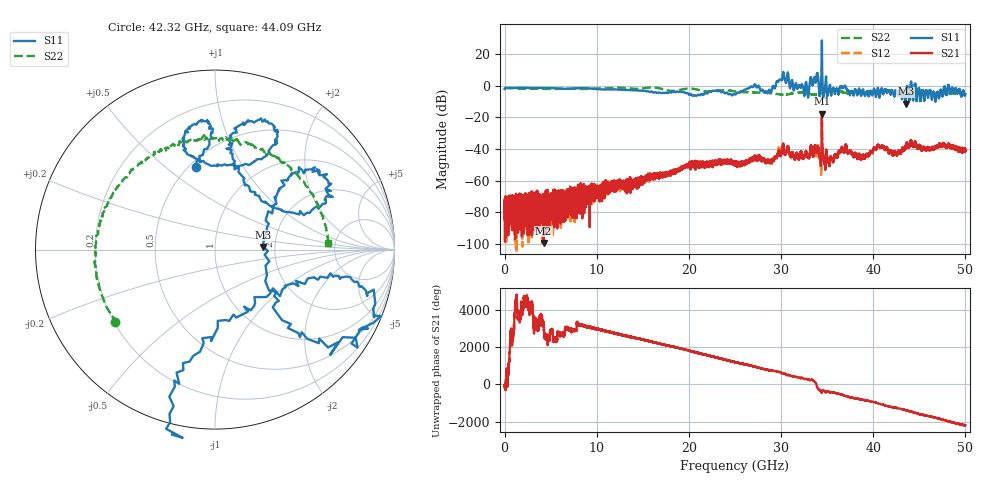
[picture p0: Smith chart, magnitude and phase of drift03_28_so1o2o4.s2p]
!Created with skrf (http://scikit-rf.org).
# Hz S RI R 50.0
!freq ReS11 ImS11 ReS21 ImS21 ReS12 ImS12 ReS22 ImS22
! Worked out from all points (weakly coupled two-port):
!   10000 points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, 5.3 MHz to 50 GHz, reference 50 ohm
!   highest |S21| = -17.68 dB at 34.43 GHz (marker M1); lowest = -99.3 dB at 4.225 GHz (marker M2)
!   lowest |S11| = -11.4 dB at 43.52 GHz (marker M3), VSWR 1.74, Z = 86.7 + j2.8 ohm
!   |S11| at or under -10 dB: 43.49447 GHz to 43.54655 GHz (52.09 MHz wide, 0.12 % of centre); 46.74923 GHz to 46.75069 GHz (1.455 MHz wide, 0.00311 % of centre)
!   |S22| runs from -5.8 to -1.1 dB; largest |S21 - S12| = 0.034
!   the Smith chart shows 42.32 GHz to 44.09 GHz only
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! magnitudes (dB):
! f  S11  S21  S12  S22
! 5.3 MHz  -2.1  -80.1  -83.6  -1.3
! 4.225 GHz  -1.4  -99.3  -78.8  -2.0
! 8.34 GHz  -1.5  -62.8  -73.8  -2.1
! 16.67 GHz  -4.4  -57.1  -55.7  -1.5
! 20.26 GHz  -5.4  -49.7  -49.1  -1.8
! 25.01 GHz  -5.5  -49.2  -49.0  -3.5
! 27.02 GHz  -0.3  -44.9  -45.7  -4.3
! 28.72 GHz  -2.5  -48.1  -47.8  -4.5
! 30.14 GHz  4.4  -40.3  -39.8  -5.7
! 32.74 GHz  2.0  -42.5  -42.1  -4.6
! 33.34 GHz  2.5  -39.8  -40.1  -5.6
! 33.82 GHz  4.0  -42.2  -42.1  -5.7
! 34.43 GHz  28.6  -17.7  -18.9  -4.6
! 35.31 GHz  0.6  -46.6  -46.6  -3.4
! 36.84 GHz  -0.7  -41.4  -41.1  -4.1
! 38.86 GHz  -2.7  -44.5  -44.2  -3.2
! 40.62 GHz  -5.5  -38.1  -38.5  -4.0
! 41.67 GHz  -3.1  -41.9  -42.5  -3.3
! 43.52 GHz  -11.4  -39.5  -38.7  -4.3
! 46.94 GHz  -4.0  -38.8  -38.6  -4.8
! 48.32 GHz  -4.5  -37.8  -38.4  -4.5
! 50 GHz  -5.3  -41.0  -40.7  -4.5
